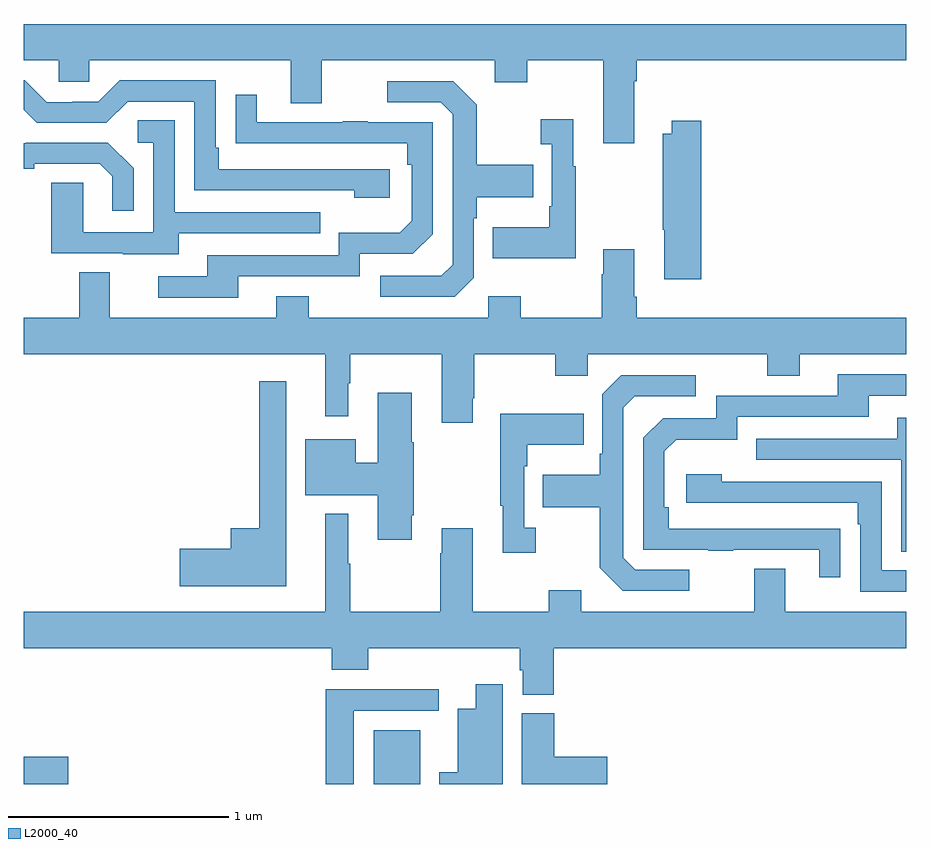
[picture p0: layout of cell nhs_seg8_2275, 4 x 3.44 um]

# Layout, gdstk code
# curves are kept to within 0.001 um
import gdstk
lib = gdstk.Library(unit=1e-6, precision=1e-09)
def R(c, l, rs):  # rectangles x0, y0, x1, y1
    for r in rs: c.add(gdstk.rectangle(r[:2], r[2:], *l))
def P(c, l, *ps):  # polygons
    for p in ps: c.add(gdstk.Polygon(p, *l))
L2000_40 = (2000, 40)

nhs_seg8_2275 = lib.new_cell('nhs_seg8_2275')
R(nhs_seg8_2275, L2000_40, [(255,1099.9,255.202,1100.024), (256.586,1099.9,256.798,1100.143)])
P(nhs_seg8_2275, L2000_40, [(257.767,1103.084),(257.779,1103.084),(257.779,1103.18),(259,1103.18),(259,1103.344),(255,1103.344),(255,1103.18),(255.159,1103.18),(255.159,1103.082),(255.297,1103.082),(255.297,1103.18),(256.211,1103.18),(256.211,1102.986),(256.351,1102.986),(256.351,1103.18),(257.135,1103.18),(257.135,1103.081),(257.283,1103.081),(257.283,1103.18),(257.627,1103.18),(257.627,1102.803),(257.767,1102.803)],
  [(256.66,1102.686),(255.883,1102.686),(255.883,1102.783),(255.87,1102.783),(255.87,1103.088),(255.435,1103.088),(255.339,1102.992),(255.221,1102.992),(255.221,1102.989),(255.105,1102.989),(255.005,1103.089),(255,1103.089),(255,1102.956),(255.06,1102.896),(255.375,1102.896),(255.471,1102.992),(255.774,1102.992),(255.774,1102.59),(256.499,1102.59),(256.499,1102.556),(256.66,1102.556)],
  [(257.04,1102.194),(257.04,1102.463),(257.053,1102.463),(257.053,1102.559),(257.309,1102.559),(257.309,1102.707),(257.053,1102.707),(257.053,1102.979),(256.947,1103.085),(256.647,1103.085),(256.647,1102.989),(256.89,1102.989),(256.944,1102.935),(256.944,1102.254),(256.893,1102.203),(256.617,1102.203),(256.617,1102.107),(256.953,1102.107)],
  [(255.973,1102.2),(256.524,1102.2),(256.524,1102.302),(256.764,1102.302),(256.854,1102.392),(256.854,1102.899),(256.559,1102.899),(256.559,1102.904),(256.447,1102.904),(256.447,1102.899),(256.057,1102.899),(256.057,1103.023),(255.961,1103.023),(255.961,1102.804),(256.738,1102.803),(256.738,1102.706),(256.758,1102.706),(256.758,1102.452),(256.705,1102.399),(256.428,1102.399),(256.428,1102.296),(255.833,1102.296),(255.833,1102.2),(255.609,1102.2),(255.609,1102.104),(255.973,1102.104)],
  [(257.503,1102.699),(257.491,1102.699),(257.491,1102.912),(257.343,1102.912),(257.343,1102.799),(257.394,1102.799),(257.394,1102.519),(257.382,1102.519),(257.382,1102.423),(257.125,1102.423),(257.125,1102.283),(257.503,1102.283)],
  [(255.703,1102.395),(256.343,1102.395),(256.343,1102.491),(255.684,1102.491),(255.684,1102.907),(255.516,1102.907),(255.516,1102.806),(255.588,1102.806),(255.588,1102.401),(255.27,1102.401),(255.27,1102.625),(255.125,1102.625),(255.125,1102.305),(255.449,1102.305),(255.449,1102.301),(255.703,1102.301)],
  [(258.071,1102.906),(257.936,1102.906),(257.936,1102.846),(257.896,1102.846),(257.896,1102.411),(257.903,1102.411),(257.903,1102.188),(258.071,1102.188)],
  [(255.498,1102.69),(255.382,1102.806),(255.01,1102.806),(255.01,1102.803),(255,1102.803),(255,1102.688),(255.049,1102.688),(255.049,1102.71),(255.344,1102.71),(255.401,1102.653),(255.401,1102.497),(255.498,1102.497)],
  [(256.293,1102.111),(256.145,1102.111),(256.145,1102.012),(255.391,1102.012),(255.391,1102.22),(255.251,1102.22),(255.251,1102.012),(255,1102.012),(255,1101.848),(256.367,1101.848),(256.367,1101.567),(256.471,1101.567),(256.471,1101.716),(256.481,1101.716),(256.481,1101.848),(256.895,1101.848),(256.895,1101.537),(257.035,1101.537),(257.035,1101.649),(257.043,1101.649),(257.043,1101.848),(257.41,1101.848),(257.41,1101.749),(257.556,1101.749),(257.556,1101.848),(258.37,1101.848),(258.37,1101.749),(258.517,1101.749),(258.517,1101.848),(259,1101.848),(259,1102.012),(257.779,1102.012),(257.779,1102.108),(257.767,1102.108),(257.767,1102.324),(257.627,1102.324),(257.627,1102.211),(257.62,1102.211),(257.62,1102.012),(257.253,1102.012),(257.253,1102.111),(257.106,1102.111),(257.106,1102.012),(256.293,1102.012)],
  [(258.701,1101.056),(257.924,1101.057),(257.924,1101.154),(257.904,1101.154),(257.904,1101.408),(257.957,1101.461),(258.234,1101.461),(258.234,1101.564),(258.829,1101.564),(258.829,1101.66),(259,1101.66),(259,1101.756),(258.689,1101.756),(258.689,1101.66),(258.138,1101.66),(258.138,1101.558),(257.898,1101.558),(257.808,1101.468),(257.808,1100.961),(258.103,1100.961),(258.103,1100.956),(258.215,1100.956),(258.215,1100.961),(258.605,1100.961),(258.605,1100.838),(258.701,1100.838)],
  [(258.016,1100.871),(257.772,1100.871),(257.718,1100.925),(257.718,1101.606),(257.769,1101.657),(258.046,1101.657),(258.046,1101.753),(257.709,1101.753),(257.622,1101.666),(257.622,1101.397),(257.61,1101.397),(257.61,1101.301),(257.353,1101.301),(257.353,1101.154),(257.61,1101.154),(257.61,1100.881),(257.715,1100.775),(258.016,1100.775)],
  [(256.189,1101.724),(256.068,1101.724),(256.068,1101.058),(255.938,1101.058),(255.938,1100.966),(255.708,1100.966),(255.708,1100.795),(256.189,1100.795)],
  [(256.759,1101.118),(256.767,1101.118),(256.767,1101.449),(256.759,1101.449),(256.759,1101.673),(256.604,1101.673),(256.604,1101.356),(256.504,1101.356),(256.504,1101.463),(256.277,1101.463),(256.277,1101.209),(256.604,1101.209),(256.604,1101.006),(256.759,1101.006)],
  [(257.32,1101.062),(257.268,1101.062),(257.268,1101.341),(257.281,1101.341),(257.281,1101.437),(257.537,1101.437),(257.537,1101.577),(257.16,1101.577),(257.16,1101.161),(257.171,1101.161),(257.171,1100.949),(257.32,1100.949)],
  [(259,1101.559),(258.959,1101.559),(258.959,1101.465),(258.319,1101.465),(258.319,1101.369),(258.978,1101.369),(258.978,1100.953),(259,1100.953)],
  [(259,1100.868),(258.888,1100.868),(258.888,1101.27),(258.164,1101.27),(258.164,1101.304),(258.003,1101.304),(258.003,1101.174),(258.779,1101.174),(258.779,1101.077),(258.792,1101.077),(258.792,1100.772),(259,1100.772)],
  [(257.402,1100.516),(259,1100.516),(259,1100.68),(258.451,1100.68),(258.451,1100.875),(258.311,1100.875),(258.311,1100.68),(257.527,1100.68),(257.527,1100.779),(257.38,1100.779),(257.38,1100.68),(257.035,1100.68),(257.035,1101.058),(256.895,1101.058),(256.895,1100.945),(256.888,1100.945),(256.888,1100.68),(256.481,1100.68),(256.481,1100.897),(256.471,1100.897),(256.471,1101.124),(256.367,1101.124),(256.367,1100.68),(255,1100.68),(255,1100.516),(256.397,1100.516),(256.397,1100.417),(256.562,1100.417),(256.562,1100.516),(257.249,1100.516),(257.249,1100.415),(257.261,1100.415),(257.261,1100.305),(257.402,1100.305)],
  [(257.17,1100.353),(257.048,1100.353),(257.048,1100.242),(256.967,1100.242),(256.967,1099.954),(256.883,1099.954),(256.883,1099.9),(257.17,1099.9)],
  [(256.495,1100.232),(256.882,1100.232),(256.882,1100.33),(256.37,1100.33),(256.37,1099.9),(256.495,1099.9)],
  [(257.644,1100.024),(257.404,1100.024),(257.404,1100.22),(257.258,1100.22),(257.258,1099.9),(257.644,1099.9)])

lib.write_gds('nhs_seg8_2275.gds')
